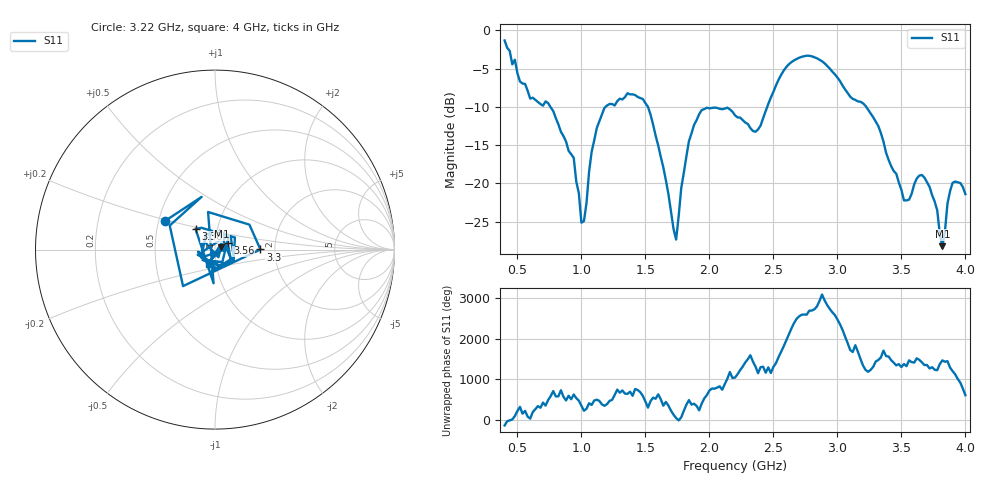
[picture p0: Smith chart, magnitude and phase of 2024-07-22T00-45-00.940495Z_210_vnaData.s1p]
!Created with skrf (http://scikit-rf.org).
# Hz S RI R 50.0
!freq ReS11 ImS11
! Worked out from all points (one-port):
!   181 points, 400 MHz to 4 GHz, reference 50 ohm
!   lowest |S11| = -28.2 dB at 3.82 GHz (marker M1), VSWR 1.08, Z = 53.6 + j1.8 ohm
!   |S11| at or under -10 dB: 757.7 MHz to 1.189 GHz (430.8 MHz wide, 44.3 % of centre); 1.52 GHz to 2.452 GHz (931.3 MHz wide, 46.9 % of centre); 3.225 GHz to end of sweep
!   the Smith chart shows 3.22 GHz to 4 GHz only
!   S11 on the Smith chart (normalised r, x): 3.22 GHz: 0.54, +0.19; 3.3 GHz: 1.68, +0.00; 3.38 GHz: 0.78, +0.19; 3.56 GHz: 1.15, +0.08; 4 GHz: 0.92, -0.14
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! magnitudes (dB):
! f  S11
! 400 MHz  -1.3
! 600 MHz  -8.9
! 740 MHz  -9.5
! 860 MHz  -13.8
! 940 MHz  -16.6
! 1 GHz  -25.1
! 1.02 GHz  -24.9
! 1.12 GHz  -12.8
! 1.3 GHz  -8.9
! 1.52 GHz  -10.0
! 1.74 GHz  -27.3
! 1.76 GHz  -24.2
! 1.84 GHz  -14.5
! 1.92 GHz  -11.0
! 2.2 GHz  -11.1
! 2.38 GHz  -13.0
! 2.66 GHz  -3.9
! 2.88 GHz  -4.0
! 3.1 GHz  -8.7
! 3.22 GHz  -9.9
! 3.3 GHz  -11.9
! 3.38 GHz  -16.0
! 3.56 GHz  -22.1
! 3.68 GHz  -19.2
! 3.78 GHz  -23.5
! 3.82 GHz  -28.2
! 3.9 GHz  -19.9
! 4 GHz  -21.4
